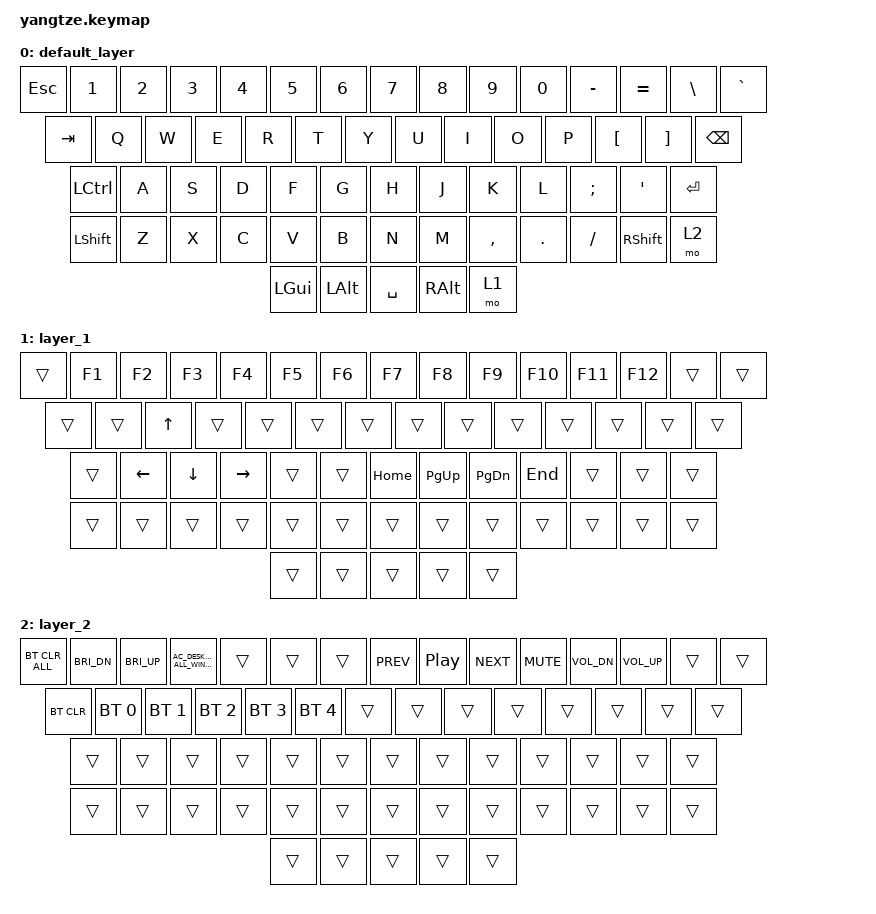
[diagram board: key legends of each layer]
#include <behaviors.dtsi>
#include <dt-bindings/zmk/keys.h>
#include <dt-bindings/zmk/bt.h>

/ {
    chosen {
        zmk,kscan = &kscan0;
        zmk,matrix-transform = &default_transform;
    };

    keymap {
        compatible = "zmk,keymap";

        default_layer {
// --------------------------------------------------------------------------------------------
// | ESC |  1  |  2  |  3  |  4  |  5  |  6  |  7  |  8  |  9  |  0  |  -  |  =  |  "|"  |  ` |
// | TAB  |  Q  |  W  |  E  |  R  |  T  |  Y  |  U  |  I  |  O  |  P  |  [  |  ]  |    BSPC   |
// | CTL   |  A  |  S  |  D  |  F  |  G  |  H  |  J  |  K  |  L  |  ;  |  '  |      ENTER     |
// |  SHIFT  |  Z  |  X  |  C  |  V  |  B  |  N  |  M  |  ,  |  .  |  /  |   SHIFT   | MO(2)  |
// |    |  ALT  |  WIN  | MO(1) |            SPACE              | MO(1) | WIN  | ALT |        |
// --------------------------------------------------------------------------------------------
            bindings = <
&kp ESC  &kp N1 &kp N2 &kp N3 &kp N4 &kp N5 &kp N6 &kp N7 &kp N8 &kp N9 &kp N0 &kp MINUS &kp EQUAL &kp BSLH &kp GRAVE
&kp TAB  &kp Q  &kp W  &kp E  &kp R  &kp T  &kp Y  &kp U  &kp I  &kp O  &kp P  &kp LBKT  &kp RBKT  &kp BSPC
&kp LCTRL  &kp A  &kp S  &kp D  &kp F  &kp G  &kp H  &kp J  &kp K  &kp L  &kp SEMI &kp SQT           &kp RET
&kp LSHFT   &kp Z  &kp X  &kp C  &kp V  &kp B  &kp N  &kp M  &kp COMMA &kp DOT &kp FSLH        &kp RSHFT &mo 2
     &kp LGUI &kp LALT             &kp SPACE                   &kp RALT &mo 1  
            >;
        };

        layer_1 {
// --------------------------------------------------------------------------------------------
// |     | F1  | F2  | F3  | F4  | F5  | F6  | F7  | F8  | F9  | F10  | F11  | F12  |    |    |
// |      |     |  UP |     |     |     |     |     |     |     |     |     |     |           |
// |       |  LT |  DN |  RT |     |     | HM  | PD  | PU  |  ED |     |     |                |
// |         |     |     |     |     |     |     |     |     |     |     |           |        |
// |    |       |       |                                             |      |     |        |
// --------------------------------------------------------------------------------------------
            bindings = <
&trans  &kp F1 &kp F2 &kp F3 &kp F4 &kp F5 &kp F6 &kp F7 &kp F8 &kp F9 &kp F10 &kp F11 &kp F12 &trans &trans
&trans  &trans &kp UP  &trans &trans &trans &trans &trans &trans &trans &trans &trans &trans &trans
&trans  &kp LEFT  &kp DOWN  &kp RIGHT  &trans &trans &kp HOME &kp PG_UP &kp PG_DN  &kp END  &trans &trans &trans
&trans   &trans &trans &trans &trans &trans &trans &trans &trans &trans &trans &trans &trans
     &trans &trans &trans &trans &trans 
            >;
        };

        layer_2 {
            bindings = <
&bt BT_CLR_ALL  &kp C_BRI_DN &kp C_BRI_UP &kp C_AC_DESKTOP_SHOW_ALL_WINDOWS &trans &trans &trans &kp C_PREV &kp C_PLAY_PAUSE &kp C_NEXT &kp C_MUTE &kp C_VOL_DN &kp C_VOL_UP &trans &trans
&bt BT_CLR  &bt BT_SEL 0 &bt BT_SEL 1  &bt BT_SEL 2 &bt BT_SEL 3 &bt BT_SEL 4 &trans &trans &trans &trans &trans &trans &trans &trans
&trans  &trans &trans &trans &trans &trans &trans &trans &trans &trans &trans &trans &trans
&trans   &trans &trans &trans &trans &trans &trans &trans &trans &trans &trans &trans &trans
     &trans &trans &trans &trans &trans 
            >;
        };
    };
};
